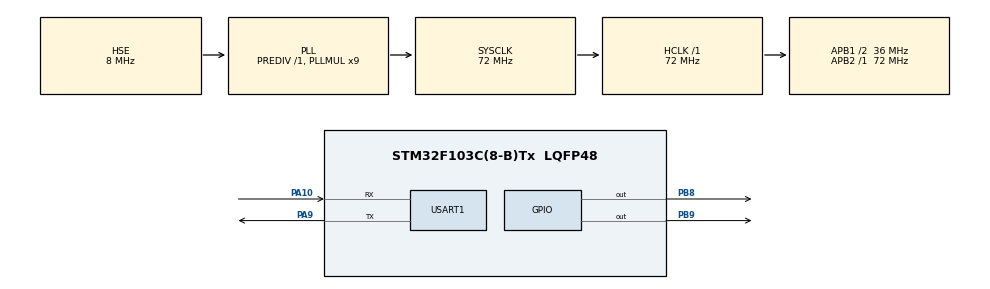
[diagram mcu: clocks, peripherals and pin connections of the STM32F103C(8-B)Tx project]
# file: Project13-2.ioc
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Dma.Request0=USART1_RX
Dma.Request1=USART1_TX
Dma.USART1_RX.0.Direction=DMA_PERIPH_TO_MEMORY
Dma.USART1_RX.0.Instance=DMA1_Channel5
Dma.USART1_RX.0.MemDataAlignment=DMA_MDATAALIGN_BYTE
Dma.USART1_RX.0.MemInc=DMA_MINC_ENABLE
Dma.USART1_RX.0.Mode=DMA_NORMAL
Dma.USART1_RX.0.PeriphDataAlignment=DMA_PDATAALIGN_BYTE
Dma.USART1_RX.0.PeriphInc=DMA_PINC_DISABLE
Dma.USART1_RX.0.Priority=DMA_PRIORITY_LOW
Dma.USART1_TX.1.Direction=DMA_MEMORY_TO_PERIPH
Dma.USART1_TX.1.Instance=DMA1_Channel4
Dma.USART1_TX.1.MemDataAlignment=DMA_MDATAALIGN_BYTE
Dma.USART1_TX.1.MemInc=DMA_MINC_ENABLE
Dma.USART1_TX.1.Mode=DMA_NORMAL
Dma.USART1_TX.1.PeriphDataAlignment=DMA_PDATAALIGN_BYTE
Dma.USART1_TX.1.PeriphInc=DMA_PINC_DISABLE
Dma.USART1_TX.1.Priority=DMA_PRIORITY_LOW
Mcu.Family=STM32F1
Mcu.Name=STM32F103C(8-B)Tx
Mcu.Package=LQFP48
NVIC.DMA1_Channel4_IRQn=true\:0\:0\:false\:false\:true\:false\:true\:true
NVIC.DMA1_Channel5_IRQn=true\:0\:0\:false\:false\:true\:false\:true\:true
NVIC.PriorityGroup=NVIC_PRIORITYGROUP_4
NVIC.USART1_IRQn=true\:0\:0\:false\:false\:true\:true\:true\:true
PA10.Mode=Asynchronous
PA10.Signal=USART1_RX
PA13.Mode=Serial_Wire
PA13.Signal=SYS_JTMS-SWDIO
PA14.Mode=Serial_Wire
PA14.Signal=SYS_JTCK-SWCLK
PA9.Mode=Asynchronous
PA9.Signal=USART1_TX
PB8.GPIO_ModeDefaultOutputPP=GPIO_MODE_OUTPUT_OD
PB8.GPIO_PuPd=GPIO_NOPULL
PB8.Signal=GPIO_Output
PB9.GPIO_ModeDefaultOutputPP=GPIO_MODE_OUTPUT_OD
PB9.GPIO_PuPd=GPIO_NOPULL
PB9.Signal=GPIO_Output
PC14-OSC32_IN.Mode=LSE-External-Oscillator
PC14-OSC32_IN.Signal=RCC_OSC32_IN
PC15-OSC32_OUT.Mode=LSE-External-Oscillator
PC15-OSC32_OUT.Signal=RCC_OSC32_OUT
PD0-OSC_IN.Mode=HSE-External-Oscillator
PD0-OSC_IN.Signal=RCC_OSC_IN
PD1-OSC_OUT.Mode=HSE-External-Oscillator
PD1-OSC_OUT.Signal=RCC_OSC_OUT
ProjectManager.HeapSize=0x200
ProjectManager.StackSize=0x400
ProjectManager.TargetToolchain=MDK-ARM V5.32
RCC.AHBFreq_Value=72000000
RCC.APB1CLKDivider=RCC_HCLK_DIV2
RCC.APB1Freq_Value=36000000
RCC.APB1TimFreq_Value=72000000
RCC.APB2Freq_Value=72000000
RCC.APB2TimFreq_Value=72000000
RCC.HCLKFreq_Value=72000000
RCC.PLLMUL=RCC_PLL_MUL9
RCC.PLLSourceVirtual=RCC_PLLSOURCE_HSE
RCC.SYSCLKFreq_VALUE=72000000
RCC.SYSCLKSource=RCC_SYSCLKSOURCE_PLLCLK
RCC.USBFreq_Value=72000000
USART1.VirtualMode=VM_ASYNC
board=custom

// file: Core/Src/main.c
/* USER CODE BEGIN Header */
/**
  ******************************************************************************
  * @file           : main.c
  * @brief          : Main program body
  ******************************************************************************
  * @attention
  *
  * Copyright (c) 2025 STMicroelectronics.
  * All rights reserved.
  *
  * This software is licensed under terms that can be found in the LICENSE file
  * in the root directory of this software component.
  * If no LICENSE file comes with this software, it is provided AS-IS.
  *
  ******************************************************************************
  */
/* USER CODE END Header */
#include "main.h"
#include "dma.h"
#include "usart.h"
#include "gpio.h"

/* USER CODE BEGIN Includes */
#include "OLED.h"
/* USER CODE END Includes */

/* USER CODE BEGIN PV */
uint8_t receiveData[5] = {0,0,0,0,0};
uint16_t i;
/* USER CODE END PV */

void SystemClock_Config(void);

/* USER CODE BEGIN 0 */
void HAL_UARTEx_RxEventCallback(UART_HandleTypeDef *huart,uint16_t Size)
{
	if(huart == &huart1)
	{
		HAL_UART_Transmit_DMA(&huart1,receiveData,Size);
		HAL_UARTEx_ReceiveToIdle_DMA(&huart1,receiveData,sizeof(receiveData));
	}
}
/* USER CODE END 0 */

int main(void)
{

  /* MCU Configuration--------------------------------------------------------*/

  /* Reset of all peripherals, Initializes the Flash interface and the Systick. */
  HAL_Init();

  /* Configure the system clock */
  SystemClock_Config();

  /* Initialize all configured peripherals */
  MX_GPIO_Init();
  MX_DMA_Init();
  MX_USART1_UART_Init();
  /* USER CODE BEGIN 2 */
  HAL_UARTEx_ReceiveToIdle_DMA(&huart1,receiveData,sizeof(receiveData));
  // 通过串口助手发送5个字节的数据给开发板
  // 模块初始化
  OLED_Init(); // OLED初始化
  OLED_ShowString(1,1,"RxData:");
  /* USER CODE END 2 */

  /* Infinite loop */
  /* USER CODE BEGIN WHILE */
  while (1)
  {
	  for(i = 0;i < 5;i++)
	  {
		  OLED_ShowChar(1,9+i,receiveData[i]);
	  }
	  OLED_ShowString(2, 1, "Running");		//OLED闪烁Running，指示当前主循环正在运行
	  HAL_Delay(500);
	  OLED_ShowString(2, 1, "       ");
	  HAL_Delay(500);
	  // 暂停Systick中断
	  HAL_SuspendTick();
	  // 进入睡眠模式，主调压器开启，使用WFI命令进入睡眠模式
	  HAL_PWR_EnterSLEEPMode(PWR_MAINREGULATOR_ON,PWR_SLEEPENTRY_WFI);
	  // 恢复SysTick中断
	  HAL_ResumeTick();
    /* USER CODE END WHILE */

  }
}

void SystemClock_Config(void)
{
  RCC_OscInitTypeDef RCC_OscInitStruct = {0};
  RCC_ClkInitTypeDef RCC_ClkInitStruct = {0};

  /** Initializes the RCC Oscillators according to the specified parameters
  * in the RCC_OscInitTypeDef structure.
  */
  RCC_OscInitStruct.OscillatorType = RCC_OSCILLATORTYPE_HSE;
  RCC_OscInitStruct.HSEState = RCC_HSE_ON;
  RCC_OscInitStruct.HSEPredivValue = RCC_HSE_PREDIV_DIV1;
  RCC_OscInitStruct.HSIState = RCC_HSI_ON;
  RCC_OscInitStruct.PLL.PLLState = RCC_PLL_ON;
  RCC_OscInitStruct.PLL.PLLSource = RCC_PLLSOURCE_HSE;
  RCC_OscInitStruct.PLL.PLLMUL = RCC_PLL_MUL9;
  if (HAL_RCC_OscConfig(&RCC_OscInitStruct) != HAL_OK)
  {
    Error_Handler();
  }

  /** Initializes the CPU, AHB and APB buses clocks
  */
  RCC_ClkInitStruct.ClockType = RCC_CLOCKTYPE_HCLK|RCC_CLOCKTYPE_SYSCLK
                              |RCC_CLOCKTYPE_PCLK1|RCC_CLOCKTYPE_PCLK2;
  RCC_ClkInitStruct.SYSCLKSource = RCC_SYSCLKSOURCE_PLLCLK;
  RCC_ClkInitStruct.AHBCLKDivider = RCC_SYSCLK_DIV1;
  RCC_ClkInitStruct.APB1CLKDivider = RCC_HCLK_DIV2;
  RCC_ClkInitStruct.APB2CLKDivider = RCC_HCLK_DIV1;

  if (HAL_RCC_ClockConfig(&RCC_ClkInitStruct, FLASH_LATENCY_2) != HAL_OK)
  {
    Error_Handler();
  }
}

void Error_Handler(void)
{
  __disable_irq();
  while (1)
  {
  }
}
